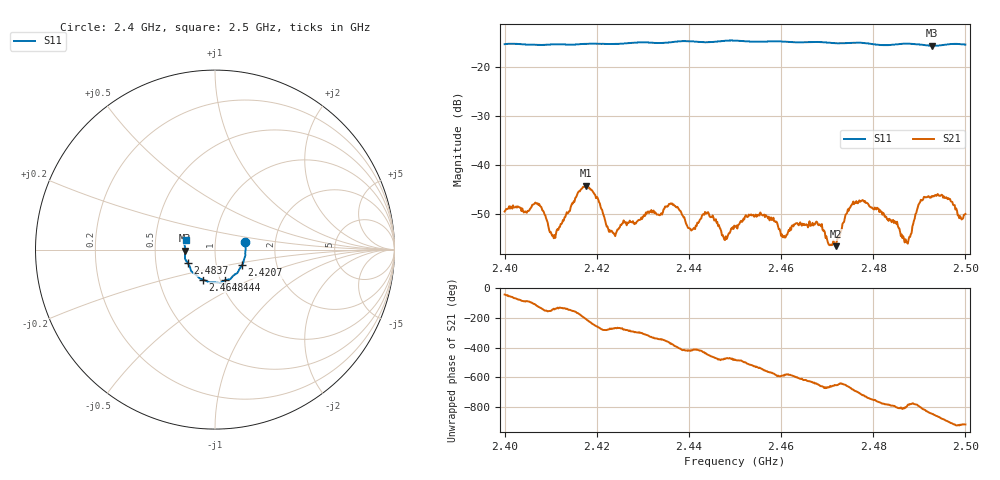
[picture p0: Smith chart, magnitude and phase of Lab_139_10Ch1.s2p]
# Hz S RI R 50
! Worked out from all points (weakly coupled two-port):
!   601 points, 2.4 GHz to 2.5 GHz, reference 50 ohm
!   highest |S21| = -44.25 dB at 2.4177 GHz (marker M1); lowest = -56.7 dB at 2.4718 GHz (marker M2)
!   lowest |S11| = -15.6 dB at 2.4927 GHz (marker M3), VSWR 1.40, Z = 35.8 - j0.504 ohm
!   |S11| at or under -10 dB: start of sweep to end of sweep
!   S12 and S22 are empty: the file has one direction only
!   S11 on the Smith chart (normalised r, x): 2.4 GHz: 1.40, +0.12; 2.4207 GHz: 1.33, -0.24; 2.444 GHz: 1.06, -0.37; 2.4648 GHz: 0.83, -0.29; 2.4837 GHz: 0.73, -0.11; 2.5 GHz: 0.72, +0.08
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2.4e9  0.1674 0.0413  0.0024 -0.0023  0 0  0 0
2.407167e9  0.1694 -0.0106  -0.00211 -0.00344  0 0  0 0
2.410667e9  0.1689 -0.0313  -0.00133 -0.00117  0 0  0 0
2.416667e9  0.159 -0.0681  -0.00564 0.000518  0 0  0 0
2.417667e9  0.157 -0.0741  -0.00541 0.00289  0 0  0 0
2.420667e9  0.1509 -0.0864  -5.97e-05 0.00402  0 0  0 0
2.423667e9  0.1408 -0.1005  1.02e-07 0.00199  0 0  0 0
2.433333e9  0.108 -0.1403  0.00296 0.000912  0 0  0 0
2.4365e9  0.0927 -0.1558  0.00367 -0.00128  0 0  0 0
2.440833e9  0.0784 -0.1666  0.00123 -0.0018  0 0  0 0
2.444e9  0.0581 -0.1708  0.000228 -0.00325  0 0  0 0
2.447667e9  0.0343 -0.1833  -0.000686 -0.00158  0 0  0 0
2.45e9  0.0247 -0.1861  -0.00116 -0.00199  0 0  0 0
2.464833e9  -0.0683 -0.1668  -0.000522 0.00235  0 0  0 0
2.466667e9  -0.0798 -0.1629  -2.76e-05 0.00239  0 0  0 0
2.471833e9  -0.1009 -0.1445  0.000546 0.00136  0 0  0 0
2.475833e9  -0.1268 -0.1251  0.00329 0.00217  0 0  0 0
2.483333e9  -0.1505 -0.0762  0.00128 -0.00233  0 0  0 0
2.483667e9  -0.1523 -0.0733  0.00111 -0.0025  0 0  0 0
2.487333e9  -0.1671 -0.051  0.000473 -0.00152  0 0  0 0
2.492667e9  -0.166 -0.00685  -0.00254 -0.00404  0 0  0 0
2.5e9  -0.1624 0.0528  -0.00302 0.000836  0 0  0 0
